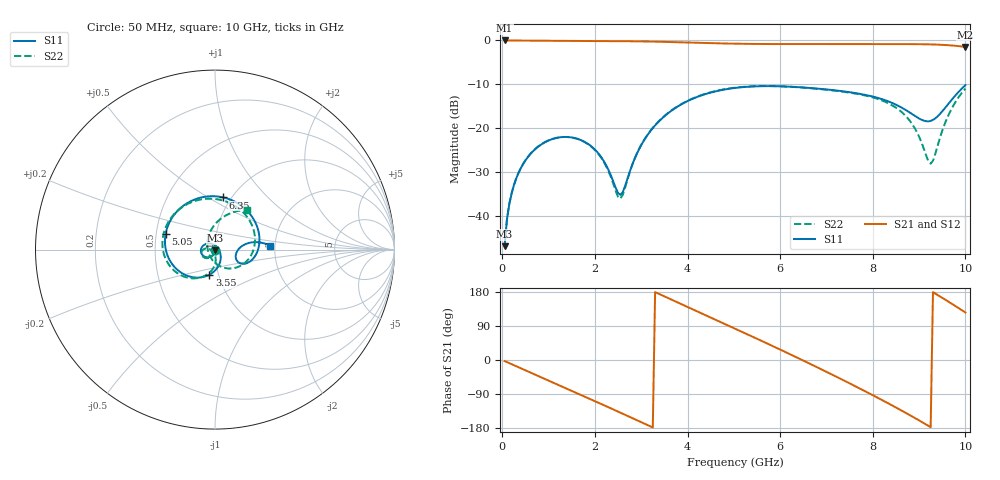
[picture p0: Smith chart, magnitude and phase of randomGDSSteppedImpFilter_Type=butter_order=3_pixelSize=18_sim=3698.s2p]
! freq	dB(S11)	phase(S11)	dB(S12)	phase(S12)
!  dB(S21)	phase(S21)	dB(S22)	phase(S22)
!S-par simulation data
#  GHz  S  DB  R 50
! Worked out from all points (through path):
!   200 points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, 50 MHz to 10 GHz, reference 50 ohm
!   highest |S21| = -0.01 dB at 50 MHz (marker M1); lowest = -1.5 dB at 10 GHz (marker M2)
!   group delay of S21, straight-line fit = 161 ps
!   lowest |S11| = -46.9 dB at 50 MHz (marker M3), VSWR 1.01, Z = 50 - j0.452 ohm
!   |S11| at or under -10 dB: start of sweep to end of sweep
!   |S22| runs from -46.9 to -10.4 dB; largest |S21 - S12| = 0
!   S11 on the Smith chart (normalised r, x): 50 MHz: 1.00, -0.01; 3.55 GHz: 0.90, -0.26; 5.05 GHz: 0.56, +0.11; 6.35 GHz: 0.92, +0.58; 10 GHz: 1.89, +0.09
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0.05  -46.90 -88.7  -0.01 -2.8  -0.01 -2.8  -46.87 -88.4
0.1  -40.89 -93.8  -0.01 -5.5  -0.01 -5.5  -40.76 -93.5
0.2  -34.92 -100.8  -0.02 -11.0  -0.02 -11.0  -34.91 -99.8
0.55  -26.62 -122.2  -0.05 -30.0  -0.05 -30.0  -26.57 -117.9
1.2  -22.16 -161.2  -0.10 -65.2  -0.10 -65.2  -22.16 -150.8
1.75  -22.97 163.6  -0.13 -95.0  -0.13 -95.0  -23.02 -176.1
2.15  -26.82 131.6  -0.14 -116.8  -0.14 -116.8  -26.98 171.5
2.55  -35.21 38.7  -0.16 -138.9  -0.16 -138.9  -36.06 -136.0
2.95  -24.86 -56.1  -0.21 -161.2  -0.21 -161.2  -24.81 -86.0
3.4  -18.26 -92.5  -0.30 173.5  -0.30 173.5  -18.20 -100.8
3.55  -16.84 -102.8  -0.34 165.1  -0.34 165.1  -16.78 -107.4
4.35  -12.35 -153.9  -0.58 120.3  -0.58 120.3  -12.29 -145.7
5.05  -10.80 162.5  -0.75 81.3  -0.75 81.3  -10.74 179.9
5.65  -10.42 124.9  -0.82 47.6  -0.82 47.6  -10.39 149.9
6.35  -10.62 81.2  -0.83 7.3  -0.83 7.3  -10.65 113.2
6.7  -10.88 60.0  -0.83 -13.3  -0.83 -13.3  -10.94 93.4
7.6  -11.96 10.9  -0.83 -67.8  -0.83 -67.8  -12.07 36.8
8.35  -13.95 -20.6  -0.84 -115.4  -0.84 -115.4  -14.41 -18.5
8.85  -16.79 -28.1  -0.84 -148.9  -0.84 -148.9  -19.05 -64.4
9.25  -18.35 -7.7  -0.90 -177.3  -0.90 -177.3  -28.10 -165.2
9.65  -14.23 11.1  -1.10 152.7  -1.10 152.7  -16.68 88.1
10  -10.19 4.0  -1.47 125.5  -1.47 125.5  -10.98 51.5
